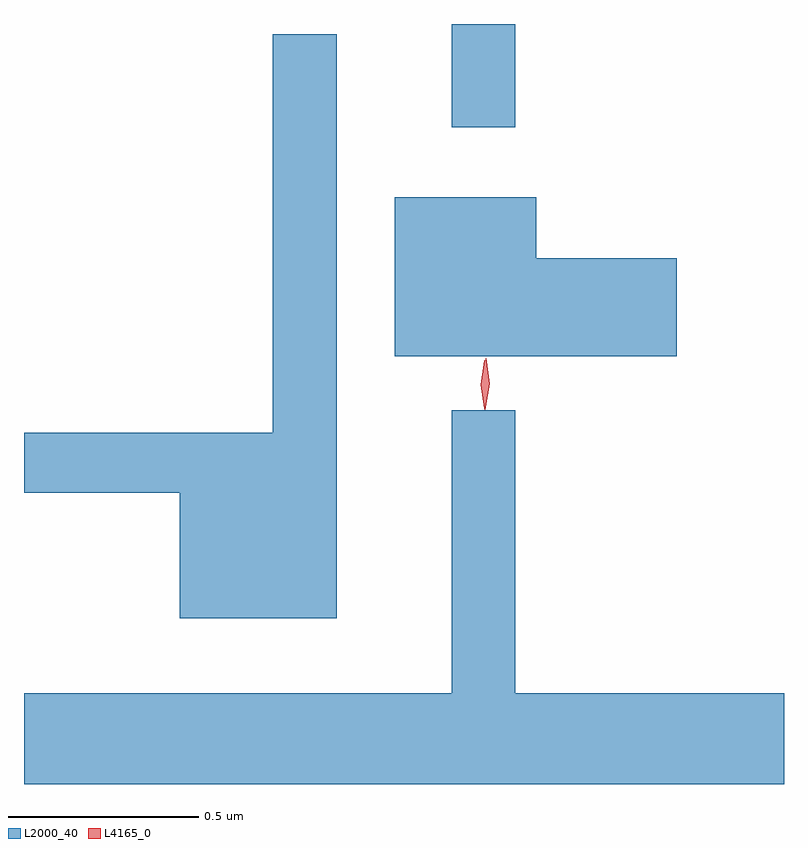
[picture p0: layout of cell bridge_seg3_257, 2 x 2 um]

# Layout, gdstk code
import gdstk
lib = gdstk.Library(unit=1e-6, precision=1e-09)
def R(c, l, rs):  # rectangles x0, y0, x1, y1
    for r in rs: c.add(gdstk.rectangle(r[:2], r[2:], *l))
def P(c, l, *ps):  # polygons
    for p in ps: c.add(gdstk.Polygon(p, *l))
L2000_40 = (2000, 40)
L4165_0 = (4165, 0)

bridge_seg3_257 = lib.new_cell('bridge_seg3_257')
R(bridge_seg3_257, L2000_40, [(971.921,1129.993,972.089,1130.265)])
P(bridge_seg3_257, L2000_40, [(971.619,1130.238),(971.451,1130.238),(971.451,1129.189),(970.796,1129.189),(970.796,1129.031),(971.206,1129.031),(971.206,1128.701),(971.619,1128.701)],
  [(972.514,1129.649),(972.144,1129.649),(972.144,1129.809),(971.771,1129.809),(971.771,1129.391),(972.514,1129.391)],
  [(972.796,1128.504),(972.089,1128.504),(972.089,1129.248),(971.921,1129.248),(971.921,1128.504),(970.796,1128.504),(970.796,1128.265),(972.796,1128.265)])
P(bridge_seg3_257, L4165_0, [(972.009,1129.25),(972.001,1129.318),(972.011,1129.386),(972.012,1129.386),(972.012,1129.386),(972.021,1129.318),(972.01,1129.25),(972.01,1129.25)],
  [(972.007,1129.253),(972.007,1129.254),(971.998,1129.316),(972.007,1129.379),(972.007,1129.38),(972.008,1129.379),(972.017,1129.316),(972.008,1129.254)])

lib.write_gds('bridge_seg3_257.gds')
